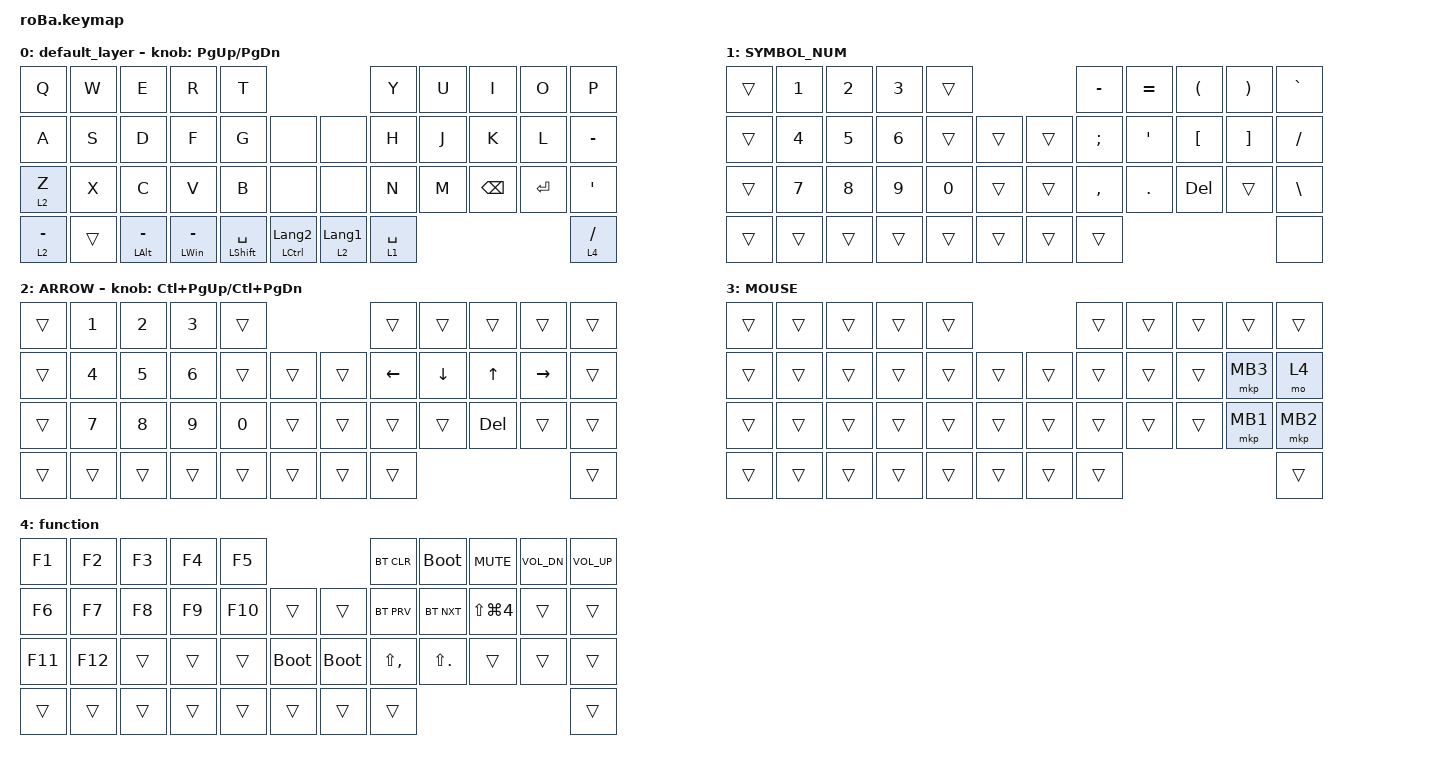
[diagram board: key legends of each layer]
#include <behaviors.dtsi>
#include <dt-bindings/zmk/bt.h>
#include <dt-bindings/zmk/keys.h>
#include <dt-bindings/zmk/pointing.h>

#define MOUSE 4
#define SCROLL 5
#define NUM 6

&mt {
    flavor = "balanced";
    quick-tap-ms = <0>;
};

/ {
    combos {
        compatible = "zmk,combos";

        tab {
            bindings = <&kp TAB>;
            key-positions = <11 10>;
        };

        esc {
            bindings = <&kp ESCAPE>;
            key-positions = <0 1>;
        };

        bootloader {
            bindings = <&bootloader>;
            key-positions = <27 26>;
        };

        boot2 {
            bindings = <&bootloader>;
            key-positions = <16 28>;
        };
    };

    macros {
        to_layer_0: to_layer_0 {
            compatible = "zmk,behavior-macro-one-param";
            #binding-cells = <1>;
            bindings = <&to 0 &macro_param_1to1 &kp MACRO_PLACEHOLDER>;
            label = "TO_LAYER_0";
        };
    };

    behaviors {
        lt_to_layer_0: lt_to_layer_0 {
            compatible = "zmk,behavior-hold-tap";
            label = "LAYER_TAP_TO_0";
            bindings = <&mo>, <&to_layer_0>;

            #binding-cells = <2>;
            tapping-term-ms = <200>;
        };
    };

    keymap {
        compatible = "zmk,keymap";

        default_layer {
            bindings = <
&kp Q        &kp W   &kp E           &kp R           &kp T                                                         &kp Y        &kp U  &kp I          &kp O      &kp P
&kp A        &kp S   &kp D           &kp F           &kp G             &none                     &none             &kp H        &kp J  &kp K          &kp L      &kp MINUS
&lt 2 Z      &kp X   &kp C           &kp V           &kp B             &none                     &none             &kp N        &kp M  &kp BACKSPACE  &kp ENTER  &kp SQT
&lt 2 MINUS  &trans  &mt LALT MINUS  &mt LWIN MINUS  &mt LSHIFT SPACE  &mt LCTRL LANGUAGE_2      &lt 2 LANGUAGE_1  &lt 1 SPACE                                   &lt 4 SLASH
            >;

            sensor-bindings = <&inc_dec_kp PG_UP PAGE_DOWN>;
        };

        SYMBOL_NUM {
            bindings = <
&trans  &kp NUMBER_1  &kp NUMBER_2  &kp NUMBER_3  &trans                      &kp MINUS      &kp EQUAL   &kp LEFT_PARENTHESIS  &kp RIGHT_PARENTHESIS  &kp GRAVE
&trans  &kp NUMBER_4  &kp N5        &kp NUMBER_6  &trans  &trans      &trans  &kp SEMICOLON  &kp SQT     &kp LEFT_BRACKET      &kp RIGHT_BRACKET      &kp SLASH
&trans  &kp N7        &kp N8        &kp N9        &kp N0  &trans      &trans  &kp COMMA      &kp PERIOD  &kp DELETE            &trans                 &kp BACKSLASH
&trans  &trans        &trans        &trans        &trans  &trans      &trans  &trans                                                                  &none
            >;
        };

        ARROW {
            bindings = <
&trans  &kp NUMBER_1  &kp NUMBER_2  &kp NUMBER_3  &trans                      &trans    &trans    &trans        &trans     &trans
&trans  &kp NUMBER_4  &kp N5        &kp NUMBER_6  &trans  &trans      &trans  &kp LEFT  &kp DOWN  &kp UP_ARROW  &kp RIGHT  &trans
&trans  &kp N7        &kp N8        &kp N9        &kp N0  &trans      &trans  &trans    &trans    &kp DELETE    &trans     &trans
&trans  &trans        &trans        &trans        &trans  &trans      &trans  &trans                                       &trans
            >;

            sensor-bindings = <&inc_dec_kp LC(PAGE_UP) LC(PAGE_DOWN)>;
        };

        MOUSE {
            bindings = <
&trans  &trans  &trans  &trans  &trans                      &trans  &trans  &trans  &trans    &trans
&trans  &trans  &trans  &trans  &trans  &trans      &trans  &trans  &trans  &trans  &mkp MB3  &mo 4
&trans  &trans  &trans  &trans  &trans  &trans      &trans  &trans  &trans  &trans  &mkp MB1  &mkp MB2
&trans  &trans  &trans  &trans  &trans  &trans      &trans  &trans                            &trans
            >;
        };

        function {
            bindings = <
&kp F1   &kp F2   &kp F3  &kp F4  &kp F5                                 &bt BT_CLR     &bootloader     &kp C_MUTE            &kp C_VOL_DN  &kp C_VOL_UP
&kp F6   &kp F7   &kp F8  &kp F9  &kp F10  &trans           &trans       &bt BT_PRV     &bt BT_NXT      &kp LS(LG(NUMBER_4))  &trans        &trans
&kp F11  &kp F12  &trans  &trans  &trans   &bootloader      &bootloader  &kp LS(COMMA)  &kp LS(PERIOD)  &trans                &trans        &trans
&trans   &trans   &trans  &trans  &trans   &trans           &trans       &trans                                                             &trans
            >;
        };
    };
};
